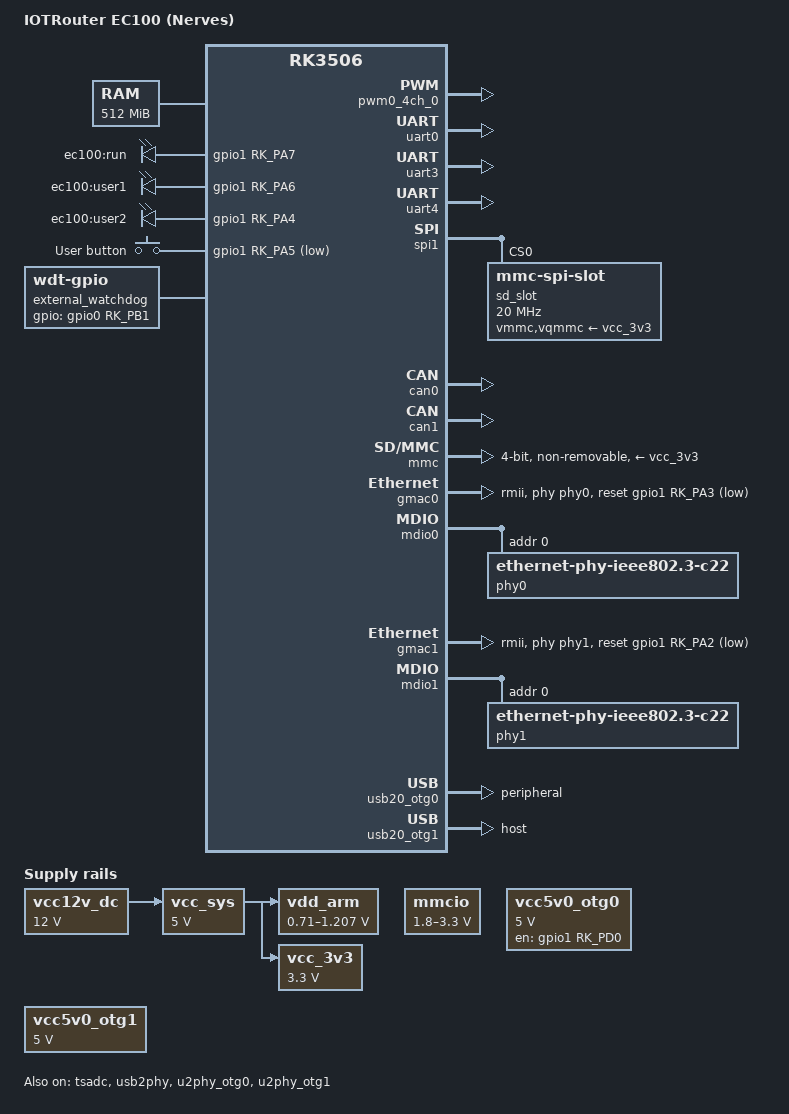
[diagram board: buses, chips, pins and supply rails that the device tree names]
// SPDX-License-Identifier: (GPL-2.0+ OR MIT)
/* IOTRouter EC100 board configuration. */

/dts-v1/;

#include <dt-bindings/gpio/gpio.h>
#include <dt-bindings/input/input.h>
#include <dt-bindings/pinctrl/rockchip.h>

/* Reservations must precede the root nodes in the included SoC tree. */
/memreserve/ 0x00063000 0x0000b000;

#include "rk3506.dtsi"

/* Use the EC100 CPU operating-point table. */
/delete-node/ &cpu0_opp_table;

/ {
    cpu0_opp_table: cpu0-opp-table {
        compatible = "operating-points-v2";
        opp-shared;
        nvmem-cells = <&cpu_leakage>;
        nvmem-cell-names = "leakage";
        rockchip,pvtm-voltage-sel = <
            0 1584 0
            1585 1619 1
            1620 1654 2
            1655 1689 3
            1690 1724 4
            1725 1759 5
            1760 1794 6
            1795 9999 7
        >;
        rockchip,pvtm-pvtpll;
        rockchip,pvtm-offset = <0x18>;
        rockchip,pvtm-sample-time = <500>;
        rockchip,pvtm-freq = <1608000>;
        rockchip,pvtm-volt = <1000000>;
        rockchip,pvtm-ref-temp = <40>;
        rockchip,pvtm-temp-prop = <0 0>;
        rockchip,pvtm-thermal-zone = "soc-thermal";
        rockchip,grf = <&pvtpll_core>;
        rockchip,temp-hysteresis = <5000>;
        rockchip,low-temp = <10000>;
        rockchip,low-temp-min-volt = <900000>;

        opp-600000000 {
            opp-hz = /bits/ 64 <600000000>;
            opp-microvolt = <850000 850000 1000000>;
            clock-latency-ns = <40000>;
            opp-suspend;
            status = "okay";
        };
        opp-800000000 {
            opp-hz = /bits/ 64 <800000000>;
            opp-microvolt = <850000 850000 1000000>;
            clock-latency-ns = <40000>;
            status = "okay";
        };
        opp-1008000000 {
            opp-hz = /bits/ 64 <1008000000>;
            opp-microvolt = <850000 850000 1000000>;
            opp-microvolt-L0 = <875000 875000 1000000>;
            clock-latency-ns = <40000>;
            status = "okay";
        };
        opp-1200000000 {
            opp-hz = /bits/ 64 <1200000000>;
            opp-microvolt = <850000 850000 1000000>;
            opp-microvolt-L0 = <875000 875000 1000000>;
            clock-latency-ns = <40000>;
            status = "okay";
        };
    };
};

/ {
    model = "IOTRouter EC100 (Nerves)";
    compatible = "iotrouter,ec100", "rockchip,rk3506";

    aliases {
        serial0 = &uart0;
        /* Keep boot eMMC numbering independent of SD-card probe order. */
        mmc0 = &mmc;
        mmc1 = &sd_slot;
    };

    chosen {
        stdout-path = "serial0:115200n8";
        bootargs = "earlycon=uart8250,mmio32,0xff0a0000 console=ttyS0,115200 rootwait ro";
    };

    memory@0 {
        device_type = "memory";
        reg = <0x00000000 0x20000000>;
    };

    reserved-memory {
        /delete-node/ drm-logo@0;
        /delete-node/ linux,cma;

        /* Inherit the vendor trust@0 reservation: base 0, size 0x62000.
         * The official small TEE does not require a dynamic TOS memory tag.
         */
    };

    leds {
        compatible = "gpio-leds";
        pinctrl-names = "default";
        pinctrl-0 = <&run_led_pin &user1_led_pin &user2_led_pin>;

        /* GPIOs match the IOTRouter EC100 guide and stock device tree.
         * ACTIVE_HIGH is provisional: physical polarity needs verification.
         * "off" currently means raw low, not a qualified physical off state.
         */
        run {
            label = "ec100:run";
            gpios = <&gpio1 RK_PA7 GPIO_ACTIVE_HIGH>;
            default-state = "off";
        };

        user1 {
            label = "ec100:user1";
            gpios = <&gpio1 RK_PA6 GPIO_ACTIVE_HIGH>;
            default-state = "off";
        };

        user2 {
            label = "ec100:user2";
            gpios = <&gpio1 RK_PA4 GPIO_ACTIVE_HIGH>;
            default-state = "off";
        };
    };

    gpio-keys {
        compatible = "gpio-keys";
        pinctrl-names = "default";
        pinctrl-0 = <&user_button_pin>;

        user {
            label = "User button";
            linux,code = <KEY_PROG1>;
            gpios = <&gpio1 RK_PA5 GPIO_ACTIVE_LOW>;
        };
    };

    external_watchdog: external-watchdog {
        compatible = "linux,wdt-gpio";
        pinctrl-names = "default";
        pinctrl-0 = <&external_watchdog_pin>;
        gpios = <&gpio0 RK_PB1 GPIO_ACTIVE_HIGH>;
        hw_algo = "toggle";
        /* Provisional feeding budget, NOT a measured hardware timeout.
         * Linux normally feeds at half this interval (about 5 seconds).
         */
        hw_margin_ms = <10000>;
        always-running;
    };

    vcc12v_dc: vcc12v-dc {
        compatible = "regulator-fixed";
        regulator-name = "vcc12v_dc";
        regulator-always-on;
        regulator-boot-on;
        regulator-min-microvolt = <12000000>;
        regulator-max-microvolt = <12000000>;
    };

    vcc_sys: vcc-sys {
        compatible = "regulator-fixed";
        regulator-name = "vcc_sys";
        regulator-always-on;
        regulator-boot-on;
        regulator-min-microvolt = <5000000>;
        regulator-max-microvolt = <5000000>;
        vin-supply = <&vcc12v_dc>;
    };

    /* EC100 CPU rail: PWM0 channel 0, inverse polarity. */
    vdd_arm: vdd-arm {
        compatible = "pwm-regulator";
        pwms = <&pwm0_4ch_0 0 5000 1>;
        regulator-name = "vdd_arm";
        regulator-min-microvolt = <710000>;
        regulator-max-microvolt = <1207000>;
        regulator-init-microvolt = <1011000>;
        regulator-always-on;
        regulator-boot-on;
        regulator-settling-time-up-us = <250>;
        pwm-supply = <&vcc_sys>;
    };

    vcc_3v3: vcc-3v3 {
        compatible = "regulator-fixed";
        regulator-name = "vcc_3v3";
        regulator-always-on;
        regulator-boot-on;
        regulator-min-microvolt = <3300000>;
        regulator-max-microvolt = <3300000>;
        vin-supply = <&vcc_sys>;
    };

    mmcio: mmcio-gpio-regulator {
        compatible = "regulator-gpio";
        regulator-name = "mmcio-gpio-supply";
        regulator-min-microvolt = <1800000>;
        regulator-max-microvolt = <3300000>;
        pinctrl-names = "default";
        pinctrl-0 = <&mmcio_voltage_pin>;
        gpios = <&gpio0 RK_PD0 GPIO_ACTIVE_HIGH>;
        gpios-states = <0>;
        states = <3300000 1>, <1800000 0>;
        startup-delay-us = <100000>;
    };

    /* Keep the Type-C host VBUS switch claimed and defaulting off. */
    vcc5v0_otg0: vcc5v0-otg0-regulator {
        compatible = "regulator-fixed";
        regulator-name = "vcc5v0_otg0";
        regulator-min-microvolt = <5000000>;
        regulator-max-microvolt = <5000000>;
        enable-active-high;
        gpio = <&gpio1 RK_PD0 GPIO_ACTIVE_HIGH>;
        pinctrl-names = "default";
        pinctrl-0 = <&vcc5v0_otg0_en>;
    };

    /* USB1 PHY supply, as described by the factory EC100 device tree. */
    vcc5v0_otg1: vcc5v0-otg1-regulator {
        compatible = "regulator-fixed";
        regulator-name = "vcc5v0_otg1";
        regulator-boot-on;
        regulator-always-on;
        regulator-min-microvolt = <5000000>;
        regulator-max-microvolt = <5000000>;
    };
};

&cpu0 {
    cpu-supply = <&vdd_arm>;
};

&pwm0_4ch_0 {
    pinctrl-names = "active";
    pinctrl-0 = <&rm_io21_pwm0_ch0>;
    status = "okay";
};

/* PVTM calibration requires the board's thermal sensor. */
&tsadc {
    status = "okay";
};

/* UART0 serial console: 115200 baud. */
&uart0 {
    pinctrl-names = "default";
    pinctrl-0 = <&uart0_xfer_pins>;
    status = "okay";
};

/* TX/RX only; RS485 transceiver direction control is not established. */
&uart3 {
    pinctrl-names = "default";
    pinctrl-0 = <&rm_io3_uart3_rx &rm_io2_uart3_tx>;
    status = "okay";
};

&uart4 {
    pinctrl-names = "default";
    pinctrl-0 = <&rm_io0_uart4_rx &rm_io8_uart4_tx>;
    status = "okay";
};

&spi1 {
    pinctrl-names = "default";
    pinctrl-0 = <&rm_io26_spi1_csn0 &rm_io25_spi1_mosi
                 &rm_io27_spi1_clk &rm_io28_spi1_miso>;
    status = "okay";

    sd_slot: mmc-slot@0 {
        compatible = "mmc-spi-slot";
        reg = <0>;
        spi-max-frequency = <20000000>;
        voltage-ranges = <3300 3300>;
        broken-cd;
        no-1-8-v;
        vmmc-supply = <&vcc_3v3>;
        vqmmc-supply = <&vcc_3v3>;
    };
};

&can0 {
    pinctrl-names = "default";
    pinctrl-0 = <&rm_io19_can0_tx &rm_io20_can0_rx>;
    assigned-clocks = <&cru CLK_CAN0>;
    assigned-clock-rates = <300000000>;
    status = "okay";
};

&can1 {
    pinctrl-names = "default";
    pinctrl-0 = <&rm_io17_can1_tx &rm_io18_can1_rx>;
    assigned-clocks = <&cru CLK_CAN1>;
    assigned-clock-rates = <300000000>;
    status = "okay";
};

&mmc {
    bus-width = <4>;
    cap-mmc-highspeed;
    mmc-hs200-1_8v;
    max-frequency = <150000000>;
    non-removable;
    no-sd;
    no-sdio;
    vmmc-supply = <&vcc_3v3>;
    vqmmc-supply = <&mmcio>;
    pinctrl-names = "default";
    pinctrl-0 = <&sdmmc_clk_pins &sdmmc_cmd_pins &sdmmc_bus4_pins>;
    status = "okay";
};

&gmac0 {
    phy-mode = "rmii";
    clock_in_out = "input";
    snps,reset-gpio = <&gpio1 RK_PA3 GPIO_ACTIVE_LOW>;
    snps,reset-active-low;
    snps,reset-delays-us = <20000 20000 20000>;
    pinctrl-names = "default";
    pinctrl-0 = <&eth_rmii0_miim_pins &eth_rmii0_tx_bus2_pins
                 &eth_rmii0_rx_bus2_pins &eth_rmii0_clk_pins>;
    phy-handle = <&phy0>;
    status = "okay";
};

&mdio0 {
    phy0: ethernet-phy@0 {
        compatible = "ethernet-phy-ieee802.3-c22";
        reg = <0>;
    };
};

&gmac1 {
    phy-mode = "rmii";
    clock_in_out = "input";
    snps,reset-gpio = <&gpio1 RK_PA2 GPIO_ACTIVE_LOW>;
    snps,reset-active-low;
    snps,reset-delays-us = <20000 20000 20000>;
    pinctrl-names = "default";
    pinctrl-0 = <&eth_rmii1_miim_pins &eth_rmii1_tx_bus2_pins
                 &eth_rmii1_rx_bus2_pins &eth_rmii1_clk_pins>;
    phy-handle = <&phy1>;
    status = "okay";
};

&mdio1 {
    phy1: ethernet-phy@0 {
        compatible = "ethernet-phy-ieee802.3-c22";
        reg = <0>;
    };
};

&usb2phy {
    status = "okay";
};

&u2phy_otg0 {
    /delete-property/ rockchip,low-power-mode;
    /* VBUS sensing stays low on the tested board, even during traffic.
     * Keep the PHY awake so a host reset can reach the gadget controller.
     */
    rockchip,dis-u2-susphy;
    /* Externally powered peripheral: never source Type-C host VBUS. */
    /delete-property/ vbus-supply;
    status = "okay";
};

&u2phy_otg1 {
    phy-supply = <&vcc5v0_otg1>;
    status = "okay";
};

/* Type-C setup port. No automatic OTG role switching. */
&usb20_otg0 {
    dr_mode = "peripheral";
    status = "okay";
};

/* Internal USB host; modem power/reset awaits an identified module. */
&usb20_otg1 {
    dr_mode = "host";
    status = "okay";
};

&pinctrl {
    user-controls {
        run_led_pin: run-led-pin {
            rockchip,pins = <1 RK_PA7 RK_FUNC_GPIO &pcfg_pull_none>;
        };

        user1_led_pin: user1-led-pin {
            rockchip,pins = <1 RK_PA6 RK_FUNC_GPIO &pcfg_pull_none>;
        };

        user2_led_pin: user2-led-pin {
            rockchip,pins = <1 RK_PA4 RK_FUNC_GPIO &pcfg_pull_none>;
        };

        user_button_pin: user-button-pin {
            rockchip,pins = <1 RK_PA5 RK_FUNC_GPIO &pcfg_pull_up>;
        };
    };

    external-watchdog {
        external_watchdog_pin: external-watchdog-pin {
            rockchip,pins = <0 RK_PB1 RK_FUNC_GPIO &pcfg_pull_none>;
        };
    };

    mmcio {
        mmcio_voltage_pin: mmcio-voltage-pin {
            rockchip,pins = <0 RK_PD0 RK_FUNC_GPIO &pcfg_pull_none>;
        };
    };

    usb {
        vcc5v0_otg0_en: vcc5v0-otg0-en {
            rockchip,pins = <1 RK_PD0 RK_FUNC_GPIO &pcfg_pull_none>;
        };
    };
};

/* Use the external GPIO watchdog only. Internal reset coverage is untested. */
&wdt0 {
    status = "disabled";
};

&wdt1 {
    status = "disabled";
};
